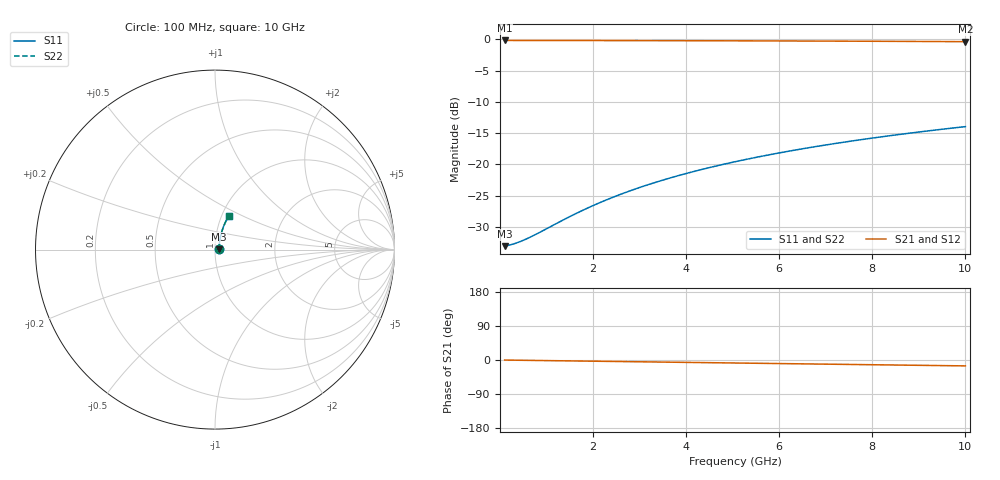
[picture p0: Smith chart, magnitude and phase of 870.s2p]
# Hz S RI R 50.00
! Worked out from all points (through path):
!   100 points, 100 MHz to 10 GHz, reference 50 ohm
!   highest |S21| = -0.19 dB at 100 MHz (marker M1); lowest = -0.4 dB at 10 GHz (marker M2)
!   group delay of S21, straight-line fit = 4.32 ps
!   lowest |S11| = -33.1 dB at 100 MHz (marker M3), VSWR 1.05, Z = 52.3 + j0.207 ohm
!   |S11| at or under -10 dB: start of sweep to end of sweep
!   |S22| runs from -33.1 to -14.0 dB; largest |S21 - S12| = 0
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1e8  0.022 0.00198  0.978 -0.00269  0.978 -0.00269  0.022 0.00198
2e8  0.0222 0.00395  0.9778 -0.00537  0.9778 -0.00537  0.0222 0.00395
3e8  0.0223 0.00593  0.9777 -0.00805  0.9777 -0.00805  0.0223 0.00593
4e8  0.0224 0.0079  0.9775 -0.0107  0.9775 -0.0107  0.0224 0.0079
6e8  0.0227 0.0118  0.9773 -0.0161  0.9773 -0.0161  0.0227 0.0118
8e8  0.0229 0.0158  0.977 -0.0215  0.977 -0.0215  0.0229 0.0158
1.4e9  0.0239 0.0276  0.976 -0.0375  0.976 -0.0375  0.0239 0.0276
1.8e9  0.0247 0.0354  0.9752 -0.0482  0.9752 -0.0482  0.0247 0.0354
2.2e9  0.0257 0.0432  0.9742 -0.0588  0.9742 -0.0588  0.0257 0.0432
2.6e9  0.0268 0.051  0.973 -0.0695  0.973 -0.0695  0.0268 0.051
3e9  0.0281 0.0588  0.9717 -0.0801  0.9717 -0.0801  0.0281 0.0588
3.4e9  0.0295 0.0665  0.9701 -0.0906  0.9701 -0.0906  0.0295 0.0665
3.8e9  0.0312 0.0742  0.9685 -0.1012  0.9685 -0.1012  0.0312 0.0742
4.2e9  0.0329 0.0818  0.9666 -0.1117  0.9666 -0.1117  0.0329 0.0818
4.6e9  0.0349 0.0894  0.9646 -0.1221  0.9646 -0.1221  0.0349 0.0894
5.1e9  0.0375 0.0988  0.9618 -0.1351  0.9618 -0.1351  0.0375 0.0988
5.9e9  0.0422 0.1137  0.9568 -0.1556  0.9568 -0.1556  0.0422 0.1137
6.7e9  0.0476 0.1283  0.9512 -0.1759  0.9512 -0.1759  0.0476 0.1283
7.5e9  0.0536 0.1426  0.945 -0.1959  0.945 -0.1959  0.0536 0.1426
8.4e9  0.061 0.1583  0.9372 -0.2181  0.9372 -0.2181  0.061 0.1583
9.2e9  0.0681 0.1719  0.9296 -0.2374  0.9296 -0.2374  0.0681 0.1719
1e10  0.0759 0.1851  0.9215 -0.2563  0.9215 -0.2563  0.0759 0.1851
